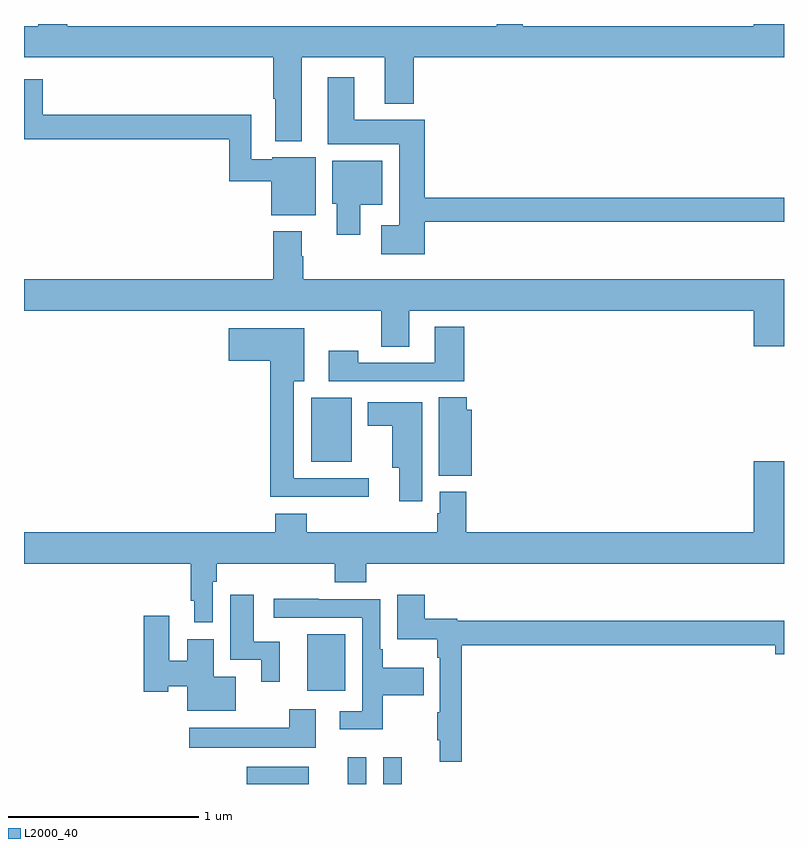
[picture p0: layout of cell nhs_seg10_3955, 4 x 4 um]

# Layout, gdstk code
import gdstk
lib = gdstk.Library(unit=1e-6, precision=1e-09)
def R(c, l, rs):  # rectangles x0, y0, x1, y1
    for r in rs: c.add(gdstk.rectangle(r[:2], r[2:], *l))
def P(c, l, *ps):  # polygons
    for p in ps: c.add(gdstk.Polygon(p, *l))
L2000_40 = (2000, 40)

nhs_seg10_3955 = lib.new_cell('nhs_seg10_3955')
R(nhs_seg10_3955, L2000_40, [(330.173,1288.5,330.499,1288.591), (330.704,1288.5,330.801,1288.642), (330.891,1288.5,330.989,1288.642), (330.491,1288.991,330.691,1289.287), (330.512,1290.197,330.724,1290.532)])
P(nhs_seg10_3955, L2000_40, [(330.463,1292.324),(330.899,1292.324),(330.899,1292.081),(331.052,1292.081),(331.052,1292.324),(333,1292.324),(333,1292.5),(332.84,1292.5),(332.84,1292.488),(331.626,1292.488),(331.626,1292.5),(331.487,1292.5),(331.487,1292.488),(329.228,1292.488),(329.228,1292.5),(329.076,1292.5),(329.076,1292.488),(329,1292.488),(329,1292.324),(330.311,1292.324),(330.311,1292.107),(330.323,1292.107),(330.323,1291.883),(330.463,1291.883)],
  [(331.109,1291.458),(333,1291.458),(333,1291.586),(331.109,1291.586),(331.109,1291.996),(330.739,1291.996),(330.739,1292.221),(330.599,1292.221),(330.599,1291.868),(330.974,1291.868),(330.974,1291.441),(330.879,1291.441),(330.879,1291.289),(331.109,1291.289)],
  [(330.535,1291.798),(330.306,1291.798),(330.306,1291.788),(330.195,1291.788),(330.195,1292.023),(329.098,1292.023),(329.098,1292.209),(329,1292.209),(329,1291.894),(330.079,1291.894),(330.079,1291.672),(330.302,1291.672),(330.302,1291.493),(330.535,1291.493)],
  [(330.769,1291.55),(330.886,1291.55),(330.886,1291.78),(330.623,1291.78),(330.623,1291.554),(330.647,1291.554),(330.647,1291.392),(330.769,1291.392)],
  [(331.027,1290.992),(332.84,1290.992),(332.84,1290.804),(333,1290.804),(333,1291.156),(330.471,1291.156),(330.471,1291.277),(330.463,1291.277),(330.463,1291.408),(330.311,1291.408),(330.311,1291.156),(329,1291.156),(329,1290.992),(330.88,1290.992),(330.88,1290.802),(331.027,1290.802)],
  [(331.316,1290.907),(331.163,1290.907),(331.163,1290.717),(330.759,1290.717),(330.759,1290.781),(330.603,1290.781),(330.603,1290.621),(331.316,1290.621)],
  [(330.814,1290.108),(330.421,1290.108),(330.421,1290.62),(330.475,1290.62),(330.475,1290.898),(330.078,1290.898),(330.078,1290.728),(330.296,1290.728),(330.296,1290.011),(330.814,1290.011)],
  [(331.357,1290.469),(331.331,1290.469),(331.331,1290.536),(331.184,1290.536),(331.184,1290.122),(331.357,1290.122)],
  [(331.096,1290.508),(330.809,1290.508),(330.809,1290.386),(330.938,1290.386),(330.938,1290.164),(330.974,1290.164),(330.974,1289.988),(331.096,1289.988)],
  [(329.994,1289.564),(330.014,1289.564),(330.014,1289.66),(330.635,1289.66),(330.635,1289.561),(330.8,1289.561),(330.8,1289.66),(333,1289.66),(333,1290.199),(332.84,1290.199),(332.84,1289.824),(331.328,1289.824),(331.328,1290.037),(331.187,1290.037),(331.187,1289.925),(331.175,1289.925),(331.175,1289.824),(330.488,1289.824),(330.488,1289.923),(330.323,1289.923),(330.323,1289.824),(329,1289.824),(329,1289.66),(329.878,1289.66),(329.878,1289.464),(329.897,1289.464),(329.897,1289.352),(329.994,1289.352)],
  [(330.346,1289.25),(330.208,1289.25),(330.208,1289.497),(330.086,1289.497),(330.086,1289.154),(330.248,1289.154),(330.248,1289.037),(330.346,1289.037)],
  [(331.304,1289.23),(332.954,1289.23),(332.954,1289.183),(333,1289.183),(333,1289.359),(331.281,1289.359),(331.281,1289.371),(331.109,1289.371),(331.109,1289.497),(330.965,1289.497),(330.965,1289.261),(331.176,1289.261),(331.176,1289.165),(331.188,1289.165),(331.188,1288.877),(331.176,1288.877),(331.176,1288.729),(331.187,1288.729),(331.187,1288.617),(331.304,1288.617)],
  [(330.889,1288.966),(331.103,1288.966),(331.103,1289.113),(330.889,1289.113),(330.889,1289.209),(330.876,1289.209),(330.876,1289.472),(330.551,1289.472),(330.551,1289.474),(330.315,1289.474),(330.315,1289.376),(330.78,1289.376),(330.78,1288.884),(330.663,1288.884),(330.663,1288.787),(330.889,1288.787)],
  [(330.115,1289.065),(329.998,1289.065),(329.998,1289.263),(329.858,1289.263),(329.858,1289.15),(329.764,1289.15),(329.764,1289.386),(329.63,1289.386),(329.63,1288.985),(329.76,1288.985),(329.76,1289.015),(329.858,1289.015),(329.858,1288.886),(330.115,1288.886)],
  [(330.535,1288.894),(330.395,1288.894),(330.395,1288.795),(329.871,1288.795),(329.871,1288.691),(330.535,1288.691)])

lib.write_gds('nhs_seg10_3955.gds')
